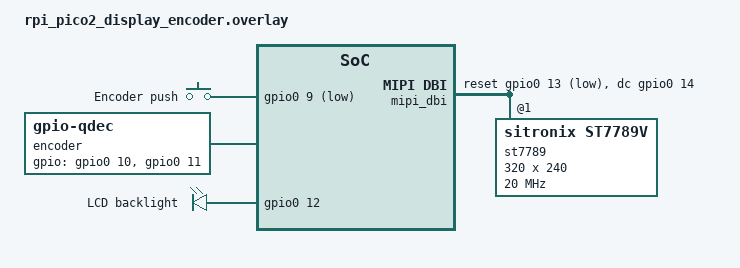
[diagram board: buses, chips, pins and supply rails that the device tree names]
/*
 * SPDX-License-Identifier: Apache-2.0
 *
 * Step 2 for the Pico 2: adds the ST7789 panel and the rotary encoder on top of
 * boards/rpi_pico2_rp2350a_m33.overlay. Not part of the default build.
 *
 *   west build -b rpi_pico2/rp2350a/m33 . -- \
 *     -DEXTRA_DTC_OVERLAY_FILE=overlays/rpi_pico2_display_encoder.overlay \
 *     -DCONFIG_REFLOW_UI_DISPLAY=y -DCONFIG_REFLOW_UI_INPUT=y
 *
 *   SPI0 shared with the MAX6675: CS GP21, DC GP14, RST GP13, backlight GP12
 *   Encoder A/B GP10/GP11, push button GP9 (all to GND, internal pull-ups)
 *
 * The panel parameters are the generic 320x240 ST7789 set and may need tuning
 * for your particular module.
 */

#include <zephyr/dt-bindings/display/panel.h>
#include <zephyr/dt-bindings/input/input-event-codes.h>

/ {
	chosen {
		zephyr,display = &st7789;
	};

	reflow_buttons {
		compatible = "gpio-keys";

		btn0: button_0 {
			gpios = <&gpio0 9 (GPIO_PULL_UP | GPIO_ACTIVE_LOW)>;
			label = "Encoder push";
			zephyr,code = <INPUT_KEY_ENTER>;
		};
	};

	encoder: encoder {
		compatible = "gpio-qdec";
		gpios = <&gpio0 10 GPIO_PULL_UP>, <&gpio0 11 GPIO_PULL_UP>;
		steps-per-period = <4>;
		zephyr,axis = <INPUT_REL_WHEEL>;
		sample-time-us = <2000>;
		idle-timeout-ms = <200>;
		status = "okay";
	};

	lcd_backlight: lcd-backlight {
		compatible = "gpio-leds";

		backlight0: backlight_0 {
			gpios = <&gpio0 12 GPIO_ACTIVE_HIGH>;
			label = "LCD backlight";
		};
	};

	aliases {
		reflow-backlight = &backlight0;
	};
};

/* Second chip select on the same bus: index 0 stays the MAX6675. */
&spi0 {
	cs-gpios = <&gpio0 20 GPIO_ACTIVE_LOW>, <&gpio0 21 GPIO_ACTIVE_LOW>;
};

/*
 * The ST7789 is no longer a direct SPI device: the Zephyr driver moved to the
 * MIPI DBI API, so the panel hangs off a `zephyr,mipi-dbi-spi` controller that
 * emulates DBI Mode C over SPI. What used to be the panel's own
 * `cmd-data-gpios` and `spi-max-frequency` now live as the controller's
 * `dc-gpios` and the panel's `mipi-max-frequency` (RFO-B35).
 *
 * The panel keeps `reg = <1>`: MIPI_DBI_SPI_CONFIG_DT() passes it through as
 * the SPI slave index, so chip select is still CS1 of spi0 — GP21, the second
 * entry of cs-gpios above. Changing it here silently moves the chip select.
 */
/ {
	mipi_dbi: mipi_dbi {
		compatible = "zephyr,mipi-dbi-spi";
		spi-dev = <&spi0>;
		dc-gpios = <&gpio0 14 GPIO_ACTIVE_HIGH>;
		reset-gpios = <&gpio0 13 GPIO_ACTIVE_LOW>;
		#address-cells = <1>;
		#size-cells = <0>;

		st7789: st7789v@1 {
			compatible = "sitronix,st7789v";
			reg = <1>;
			status = "okay";

			mipi-max-frequency = <20000000>;
			mipi-mode = "MIPI_DBI_MODE_SPI_4WIRE";

			width = <320>;
			height = <240>;
			x-offset = <0>;
			y-offset = <0>;

			/* Landscape (MV set), 16 bpp. */
			mdac = <0x60>;
			pixel-format = <PANEL_PIXEL_FORMAT_RGB_565>;
			lcm = <0x2c>;
			gctrl = <0x35>;
			vrhs = <0x0b>;
			vdvs = <0x20>;
			vcom = <0x20>;
			gamma = <0x01>;

			porch-param = [0c 0c 00 33 33];
			cmd2en-param = [5a 69 02 01];
			pwctrl1-param = [a4 a1];
			pvgam-param = [d0 00 02 07 0a 28 32 44 42 06 0e 12 14 17];
			nvgam-param = [d0 00 02 07 0a 28 31 54 47 0e 1c 17 1b 1e];
			ram-param = [00 f0];
			rgb-param = [cd 08 14];
		};
	};
};
